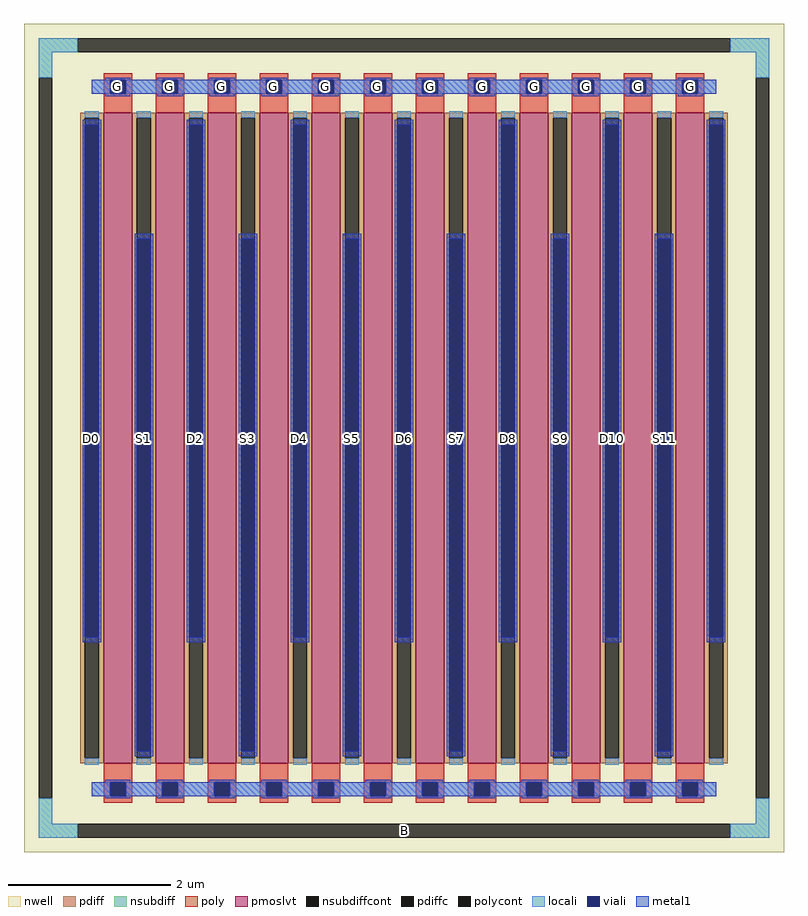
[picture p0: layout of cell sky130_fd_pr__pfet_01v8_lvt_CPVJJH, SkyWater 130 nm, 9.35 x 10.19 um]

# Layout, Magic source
magic
tech sky130A
magscale 1 2
<< nwell >>
rect -935 -1019 935 1019
<< pmoslvt >>
rect -739 -800 -669 800
rect -611 -800 -541 800
rect -483 -800 -413 800
rect -355 -800 -285 800
rect -227 -800 -157 800
rect -99 -800 -29 800
rect 29 -800 99 800
rect 157 -800 227 800
rect 285 -800 355 800
rect 413 -800 483 800
rect 541 -800 611 800
rect 669 -800 739 800
<< pdiff >>
rect -797 788 -739 800
rect -797 -788 -785 788
rect -751 -788 -739 788
rect -797 -800 -739 -788
rect -669 788 -611 800
rect -669 -788 -657 788
rect -623 -788 -611 788
rect -669 -800 -611 -788
rect -541 788 -483 800
rect -541 -788 -529 788
rect -495 -788 -483 788
rect -541 -800 -483 -788
rect -413 788 -355 800
rect -413 -788 -401 788
rect -367 -788 -355 788
rect -413 -800 -355 -788
rect -285 788 -227 800
rect -285 -788 -273 788
rect -239 -788 -227 788
rect -285 -800 -227 -788
rect -157 788 -99 800
rect -157 -788 -145 788
rect -111 -788 -99 788
rect -157 -800 -99 -788
rect -29 788 29 800
rect -29 -788 -17 788
rect 17 -788 29 788
rect -29 -800 29 -788
rect 99 788 157 800
rect 99 -788 111 788
rect 145 -788 157 788
rect 99 -800 157 -788
rect 227 788 285 800
rect 227 -788 239 788
rect 273 -788 285 788
rect 227 -800 285 -788
rect 355 788 413 800
rect 355 -788 367 788
rect 401 -788 413 788
rect 355 -800 413 -788
rect 483 788 541 800
rect 483 -788 495 788
rect 529 -788 541 788
rect 483 -800 541 -788
rect 611 788 669 800
rect 611 -788 623 788
rect 657 -788 669 788
rect 611 -800 669 -788
rect 739 788 797 800
rect 739 -788 751 788
rect 785 -788 797 788
rect 739 -800 797 -788
<< pdiffc >>
rect -785 -788 -751 788
rect -657 -788 -623 788
rect -529 -788 -495 788
rect -401 -788 -367 788
rect -273 -788 -239 788
rect -145 -788 -111 788
rect -17 -788 17 788
rect 111 -788 145 788
rect 239 -788 273 788
rect 367 -788 401 788
rect 495 -788 529 788
rect 623 -788 657 788
rect 751 -788 785 788
<< nsubdiff >>
rect -899 949 -803 983
rect 803 949 899 983
rect -899 887 -865 949
rect 865 887 899 949
rect -899 -949 -865 -887
rect 865 -949 899 -887
rect -899 -983 -803 -949
rect 803 -983 899 -949
<< nsubdiffcont >>
rect -803 949 803 983
rect -899 -887 -865 887
rect 865 -887 899 887
rect -803 -983 803 -949
<< poly >>
rect -739 881 -669 897
rect -739 847 -723 881
rect -685 847 -669 881
rect -739 800 -669 847
rect -611 881 -541 897
rect -611 847 -595 881
rect -557 847 -541 881
rect -611 800 -541 847
rect -483 881 -413 897
rect -483 847 -467 881
rect -429 847 -413 881
rect -483 800 -413 847
rect -355 881 -285 897
rect -355 847 -339 881
rect -301 847 -285 881
rect -355 800 -285 847
rect -227 881 -157 897
rect -227 847 -211 881
rect -173 847 -157 881
rect -227 800 -157 847
rect -99 881 -29 897
rect -99 847 -83 881
rect -45 847 -29 881
rect -99 800 -29 847
rect 29 881 99 897
rect 29 847 45 881
rect 83 847 99 881
rect 29 800 99 847
rect 157 881 227 897
rect 157 847 173 881
rect 211 847 227 881
rect 157 800 227 847
rect 285 881 355 897
rect 285 847 301 881
rect 339 847 355 881
rect 285 800 355 847
rect 413 881 483 897
rect 413 847 429 881
rect 467 847 483 881
rect 413 800 483 847
rect 541 881 611 897
rect 541 847 557 881
rect 595 847 611 881
rect 541 800 611 847
rect 669 881 739 897
rect 669 847 685 881
rect 723 847 739 881
rect 669 800 739 847
rect -739 -847 -669 -800
rect -739 -881 -723 -847
rect -685 -881 -669 -847
rect -739 -897 -669 -881
rect -611 -847 -541 -800
rect -611 -881 -595 -847
rect -557 -881 -541 -847
rect -611 -897 -541 -881
rect -483 -847 -413 -800
rect -483 -881 -467 -847
rect -429 -881 -413 -847
rect -483 -897 -413 -881
rect -355 -847 -285 -800
rect -355 -881 -339 -847
rect -301 -881 -285 -847
rect -355 -897 -285 -881
rect -227 -847 -157 -800
rect -227 -881 -211 -847
rect -173 -881 -157 -847
rect -227 -897 -157 -881
rect -99 -847 -29 -800
rect -99 -881 -83 -847
rect -45 -881 -29 -847
rect -99 -897 -29 -881
rect 29 -847 99 -800
rect 29 -881 45 -847
rect 83 -881 99 -847
rect 29 -897 99 -881
rect 157 -847 227 -800
rect 157 -881 173 -847
rect 211 -881 227 -847
rect 157 -897 227 -881
rect 285 -847 355 -800
rect 285 -881 301 -847
rect 339 -881 355 -847
rect 285 -897 355 -881
rect 413 -847 483 -800
rect 413 -881 429 -847
rect 467 -881 483 -847
rect 413 -897 483 -881
rect 541 -847 611 -800
rect 541 -881 557 -847
rect 595 -881 611 -847
rect 541 -897 611 -881
rect 669 -847 739 -800
rect 669 -881 685 -847
rect 723 -881 739 -847
rect 669 -897 739 -881
<< polycont >>
rect -723 847 -685 881
rect -595 847 -557 881
rect -467 847 -429 881
rect -339 847 -301 881
rect -211 847 -173 881
rect -83 847 -45 881
rect 45 847 83 881
rect 173 847 211 881
rect 301 847 339 881
rect 429 847 467 881
rect 557 847 595 881
rect 685 847 723 881
rect -723 -881 -685 -847
rect -595 -881 -557 -847
rect -467 -881 -429 -847
rect -339 -881 -301 -847
rect -211 -881 -173 -847
rect -83 -881 -45 -847
rect 45 -881 83 -847
rect 173 -881 211 -847
rect 301 -881 339 -847
rect 429 -881 467 -847
rect 557 -881 595 -847
rect 685 -881 723 -847
<< locali >>
rect -899 949 -803 983
rect 803 949 899 983
rect -899 887 -865 949
rect 865 887 899 949
rect -768 847 -723 881
rect -685 847 -595 881
rect -557 847 -467 881
rect -429 847 -339 881
rect -301 847 -211 881
rect -173 847 -83 881
rect -45 847 45 881
rect 83 847 173 881
rect 211 847 301 881
rect 339 847 429 881
rect 467 847 557 881
rect 595 847 685 881
rect 723 847 768 881
rect -785 788 -751 804
rect -785 -804 -751 -788
rect -657 788 -623 804
rect -657 -804 -623 -788
rect -529 788 -495 804
rect -529 -804 -495 -788
rect -401 788 -367 804
rect -401 -804 -367 -788
rect -273 788 -239 804
rect -273 -804 -239 -788
rect -145 788 -111 804
rect -145 -804 -111 -788
rect -17 788 17 804
rect -17 -804 17 -788
rect 111 788 145 804
rect 111 -804 145 -788
rect 239 788 273 804
rect 239 -804 273 -788
rect 367 788 401 804
rect 367 -804 401 -788
rect 495 788 529 804
rect 495 -804 529 -788
rect 623 788 657 804
rect 623 -804 657 -788
rect 751 788 785 804
rect 751 -804 785 -788
rect -768 -881 -723 -847
rect -685 -881 -595 -847
rect -557 -881 -467 -847
rect -429 -881 -339 -847
rect -301 -881 -211 -847
rect -173 -881 -83 -847
rect -45 -881 45 -847
rect 83 -881 173 -847
rect 211 -881 301 -847
rect 339 -881 429 -847
rect 467 -881 557 -847
rect 595 -881 685 -847
rect 723 -881 768 -847
rect -899 -949 -865 -887
rect 865 -949 899 -887
rect -899 -983 -803 -949
rect 803 -983 899 -949
<< viali >>
rect -723 847 -685 881
rect -595 847 -557 881
rect -467 847 -429 881
rect -339 847 -301 881
rect -211 847 -173 881
rect -83 847 -45 881
rect 45 847 83 881
rect 173 847 211 881
rect 301 847 339 881
rect 429 847 467 881
rect 557 847 595 881
rect 685 847 723 881
rect -785 -490 -751 771
rect -657 -771 -623 490
rect -529 -490 -495 771
rect -401 -771 -367 490
rect -273 -490 -239 771
rect -145 -771 -111 490
rect -17 -490 17 771
rect 111 -771 145 490
rect 239 -490 273 771
rect 367 -771 401 490
rect 495 -490 529 771
rect 623 -771 657 490
rect 751 -490 785 771
rect -723 -881 -685 -847
rect -595 -881 -557 -847
rect -467 -881 -429 -847
rect -339 -881 -301 -847
rect -211 -881 -173 -847
rect -83 -881 -45 -847
rect 45 -881 83 -847
rect 173 -881 211 -847
rect 301 -881 339 -847
rect 429 -881 467 -847
rect 557 -881 595 -847
rect 685 -881 723 -847
<< metal1 >>
rect -735 881 -673 887
rect -607 881 -545 887
rect -479 881 -417 887
rect -351 881 -289 887
rect -223 881 -161 887
rect -95 881 -33 887
rect 33 881 95 887
rect 161 881 223 887
rect 289 881 351 887
rect 417 881 479 887
rect 545 881 607 887
rect 673 881 735 887
rect -768 847 -723 881
rect -685 847 -595 881
rect -557 847 -467 881
rect -429 847 -339 881
rect -301 847 -211 881
rect -173 847 -83 881
rect -45 847 45 881
rect 83 847 173 881
rect 211 847 301 881
rect 339 847 429 881
rect 467 847 557 881
rect 595 847 685 881
rect 723 847 768 881
rect -735 841 -673 847
rect -607 841 -545 847
rect -479 841 -417 847
rect -351 841 -289 847
rect -223 841 -161 847
rect -95 841 -33 847
rect 33 841 95 847
rect 161 841 223 847
rect 289 841 351 847
rect 417 841 479 847
rect 545 841 607 847
rect 673 841 735 847
rect -791 771 -745 783
rect -791 -490 -785 771
rect -751 -490 -745 771
rect -535 771 -489 783
rect -791 -502 -745 -490
rect -663 490 -617 502
rect -663 -771 -657 490
rect -623 -771 -617 490
rect -535 -490 -529 771
rect -495 -490 -489 771
rect -279 771 -233 783
rect -535 -502 -489 -490
rect -407 490 -361 502
rect -663 -783 -617 -771
rect -407 -771 -401 490
rect -367 -771 -361 490
rect -279 -490 -273 771
rect -239 -490 -233 771
rect -23 771 23 783
rect -279 -502 -233 -490
rect -151 490 -105 502
rect -407 -783 -361 -771
rect -151 -771 -145 490
rect -111 -771 -105 490
rect -23 -490 -17 771
rect 17 -490 23 771
rect 233 771 279 783
rect -23 -502 23 -490
rect 105 490 151 502
rect -151 -783 -105 -771
rect 105 -771 111 490
rect 145 -771 151 490
rect 233 -490 239 771
rect 273 -490 279 771
rect 489 771 535 783
rect 233 -502 279 -490
rect 361 490 407 502
rect 105 -783 151 -771
rect 361 -771 367 490
rect 401 -771 407 490
rect 489 -490 495 771
rect 529 -490 535 771
rect 745 771 791 783
rect 489 -502 535 -490
rect 617 490 663 502
rect 361 -783 407 -771
rect 617 -771 623 490
rect 657 -771 663 490
rect 745 -490 751 771
rect 785 -490 791 771
rect 745 -502 791 -490
rect 617 -783 663 -771
rect -735 -847 -673 -841
rect -607 -847 -545 -841
rect -479 -847 -417 -841
rect -351 -847 -289 -841
rect -223 -847 -161 -841
rect -95 -847 -33 -841
rect 33 -847 95 -841
rect 161 -847 223 -841
rect 289 -847 351 -841
rect 417 -847 479 -841
rect 545 -847 607 -841
rect 673 -847 735 -841
rect -768 -881 -723 -847
rect -685 -881 -595 -847
rect -557 -881 -467 -847
rect -429 -881 -339 -847
rect -301 -881 -211 -847
rect -173 -881 -83 -847
rect -45 -881 45 -847
rect 83 -881 173 -847
rect 211 -881 301 -847
rect 339 -881 429 -847
rect 467 -881 557 -847
rect 595 -881 685 -847
rect 723 -881 768 -847
rect -735 -887 -673 -881
rect -607 -887 -545 -881
rect -479 -887 -417 -881
rect -351 -887 -289 -881
rect -223 -887 -161 -881
rect -95 -887 -33 -881
rect 33 -887 95 -881
rect 161 -887 223 -881
rect 289 -887 351 -881
rect 417 -887 479 -881
rect 545 -887 607 -881
rect 673 -887 735 -881
<< labels >>
rlabel nsubdiffcont 0 -966 0 -966 0 B
port 1 nsew
rlabel pdiffc -768 0 -768 0 0 D0
port 2 nsew
rlabel polycont -704 864 -704 864 0 G
port 3 nsew
rlabel pdiffc -640 0 -640 0 0 S1
port 4 nsew
rlabel polycont -576 864 -576 864 0 G
port 3 nsew
rlabel pdiffc -512 0 -512 0 0 D2
port 5 nsew
rlabel polycont -448 864 -448 864 0 G
port 3 nsew
rlabel pdiffc -384 0 -384 0 0 S3
port 6 nsew
rlabel polycont -320 864 -320 864 0 G
port 3 nsew
rlabel pdiffc -256 0 -256 0 0 D4
port 7 nsew
rlabel polycont -192 864 -192 864 0 G
port 3 nsew
rlabel pdiffc -128 0 -128 0 0 S5
port 8 nsew
rlabel polycont -64 864 -64 864 0 G
port 3 nsew
rlabel pdiffc 0 0 0 0 0 D6
port 9 nsew
rlabel polycont 64 864 64 864 0 G
port 3 nsew
rlabel pdiffc 128 0 128 0 0 S7
port 10 nsew
rlabel polycont 192 864 192 864 0 G
port 3 nsew
rlabel pdiffc 256 0 256 0 0 D8
port 11 nsew
rlabel polycont 320 864 320 864 0 G
port 3 nsew
rlabel pdiffc 384 0 384 0 0 S9
port 12 nsew
rlabel polycont 448 864 448 864 0 G
port 3 nsew
rlabel pdiffc 512 0 512 0 0 D10
port 13 nsew
rlabel polycont 576 864 576 864 0 G
port 3 nsew
rlabel pdiffc 640 0 640 0 0 S11
port 14 nsew
rlabel polycont 704 864 704 864 0 G
port 3 nsew
<< properties >>
string FIXED_BBOX -882 -966 882 966
string gencell sky130_fd_pr__pfet_01v8_lvt
string library sky130
string parameters w 8.0 l 0.35 m 1 nf 12 diffcov 100 polycov 100 guard 1 glc 1 grc 1 gtc 1 gbc 1 tbcov 100 rlcov 100 topc 1 botc 1 poverlap 0 doverlap 1 lmin 0.35 wmin 0.42 class mosfet compatible {sky130_fd_pr__pfet_01v8  sky130_fd_pr__pfet_01v8_lvt sky130_fd_pr__pfet_01v8_hvt  sky130_fd_pr__pfet_g5v0d10v5} full_metal 1 conn_gates 1 viasrc +80 viadrn -80 viagate 100 viagb 0 viagr 0 viagl 0 viagt 0 doports 1
<< end >>
